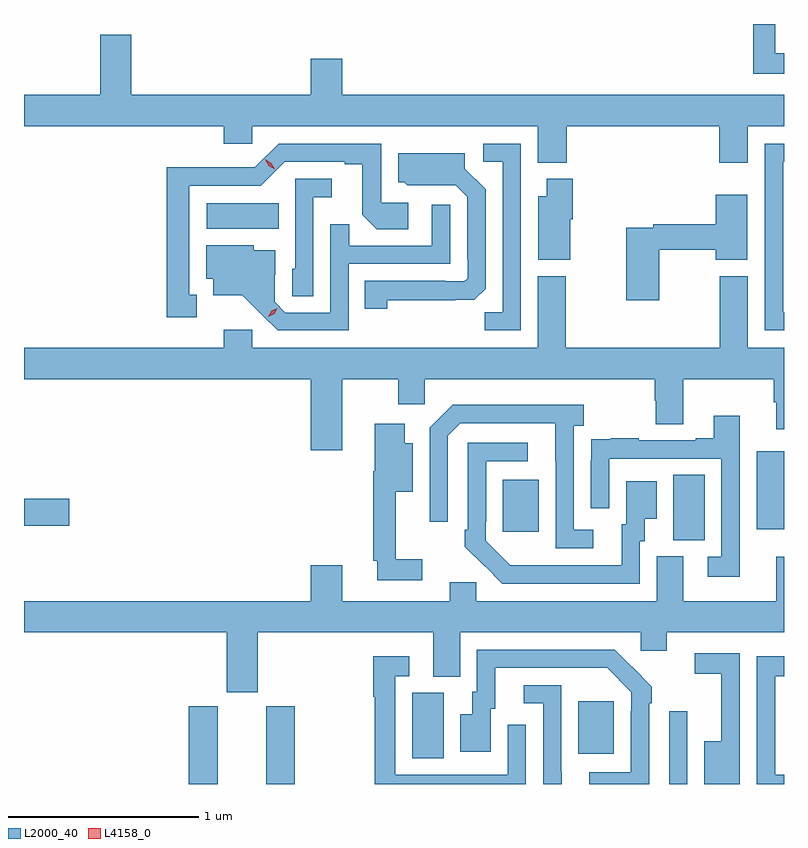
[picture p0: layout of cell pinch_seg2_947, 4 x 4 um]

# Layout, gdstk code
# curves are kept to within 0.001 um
import gdstk
lib = gdstk.Library(unit=1e-6, precision=1e-09)
def R(c, l, rs):  # rectangles x0, y0, x1, y1
    for r in rs: c.add(gdstk.rectangle(r[:2], r[2:], *l))
def P(c, l, *ps):  # polygons
    for p in ps: c.add(gdstk.Polygon(p, *l))
L2000_40 = (2000, 40)
L4158_0 = (4158, 0)

pinch_seg2_947 = lib.new_cell('pinch_seg2_947')
R(pinch_seg2_947, L2000_40, [(320.21,637.513,320.362,637.923), (320.618,637.513,320.766,637.923), (322.737,637.513,322.833,637.897), (321.386,637.648,321.55,637.992), (322.259,637.673,322.447,637.948), (322.76,638.797,322.924,639.14), (321.863,638.841,322.051,639.115), (323.198,638.855,323.342,639.265), (319.342,638.872,319.579,639.014), (320.304,640.436,320.684,640.57)])
P(pinch_seg2_947, L2000_40, [(323.342,641.359),(323.297,641.359),(323.297,641.513),(323.179,641.513),(323.179,641.25),(323.342,641.25)],
  [(323.152,640.976),(323.342,640.976),(323.342,641.14),(321.016,641.14),(321.016,641.329),(320.852,641.329),(320.852,641.14),(319.906,641.14),(319.906,641.457),(319.742,641.457),(319.742,641.14),(319.342,641.14),(319.342,640.976),(320.393,640.976),(320.393,640.883),(320.544,640.883),(320.544,640.976),(322.046,640.976),(322.046,640.784),(322.199,640.784),(322.199,640.976),(323,640.976),(323,640.782),(323.152,640.782)],
  [(321.957,640.884),(321.759,640.884),(321.759,640.788),(321.861,640.788),(321.861,639.995),(321.766,639.995),(321.766,639.9),(321.957,639.9)],
  [(323.342,639.995),(323.337,639.995),(323.337,640.788),(323.342,640.788),(323.342,640.884),(323.241,640.884),(323.241,639.9),(323.342,639.9)],
  [(320.251,640.089),(320.212,640.089),(320.212,640.662),(320.589,640.662),(320.715,640.788),(321.029,640.788),(321.029,640.776),(321.123,640.776),(321.123,640.508),(321.199,640.432),(321.364,640.432),(321.364,640.572),(321.222,640.572),(321.222,640.884),(320.682,640.884),(320.556,640.758),(320.334,640.758),(320.334,640.76),(320.094,640.76),(320.094,639.969),(320.251,639.969)],
  [(321.255,640.06),(321.712,640.061),(321.771,640.12),(321.771,640.642),(321.661,640.752),(321.661,640.834),(321.311,640.834),(321.311,640.68),(321.342,640.68),(321.358,640.664),(321.615,640.665),(321.675,640.605),(321.675,640.276),(321.678,640.276),(321.678,640.176),(321.66,640.158),(321.56,640.158),(321.56,640.161),(321.136,640.161),(321.136,640.014),(321.255,640.014)],
  [(322.216,640.485),(322.229,640.485),(322.229,640.699),(322.094,640.699),(322.094,640.606),(322.049,640.606),(322.049,640.271),(322.216,640.271)],
  [(320.865,640.601),(320.962,640.601),(320.962,640.698),(320.769,640.698),(320.769,640.224),(320.754,640.224),(320.754,640.081),(320.865,640.081)],
  [(322.686,640.324),(322.982,640.324),(322.982,640.271),(323.149,640.271),(323.149,640.615),(322.982,640.615),(322.982,640.46),(322.654,640.46),(322.654,640.44),(322.513,640.44),(322.513,640.059),(322.686,640.059)],
  [(321.051,640.251),(321.585,640.251),(321.585,640.561),(321.489,640.561),(321.489,640.347),(321.053,640.347),(321.053,640.46),(320.955,640.46),(320.955,639.993),(320.718,639.993),(320.661,640.05),(320.661,640.192),(320.665,640.192),(320.665,640.321),(320.55,640.321),(320.55,640.348),(320.3,640.348),(320.3,640.172),(320.339,640.172),(320.339,640.085),(320.491,640.085),(320.678,639.9),(321.051,639.9)],
  [(321.016,639.644),(321.311,639.644),(321.311,639.513),(321.45,639.513),(321.45,639.644),(322.661,639.644),(322.661,639.531),(322.666,639.531),(322.666,639.406),(322.813,639.406),(322.813,639.644),(323.289,639.644),(323.289,639.521),(323.3,639.521),(323.3,639.381),(323.342,639.381),(323.342,639.808),(323.152,639.808),(323.152,640.186),(323.005,640.186),(323.005,639.808),(322.194,639.808),(322.194,640.186),(322.046,640.186),(322.046,639.808),(320.544,639.808),(320.544,639.904),(320.393,639.904),(320.393,639.808),(319.342,639.808),(319.342,639.644),(320.852,639.644),(320.852,639.27),(321.016,639.27)],
  [(322.339,638.85),(322.236,638.85),(322.236,639.398),(322.288,639.398),(322.288,639.508),(321.598,639.508),(321.477,639.387),(321.477,638.892),(321.573,638.892),(321.573,639.345),(321.639,639.411),(322.139,639.411),(322.14,638.754),(322.339,638.754)],
  [(323.109,639.451),(322.973,639.451),(322.973,639.334),(322.877,639.334),(322.877,639.321),(322.577,639.321),(322.577,639.334),(322.429,639.334),(322.429,639.327),(322.327,639.327),(322.327,639.218),(322.326,639.218),(322.326,638.964),(322.422,638.964),(322.422,639.225),(323.013,639.225),(323.013,638.709),(322.941,638.709),(322.941,638.604),(323.109,638.604)],
  [(321.439,638.695),(321.299,638.695),(321.299,639.05),(321.388,639.05),(321.388,639.307),(321.346,639.307),(321.346,639.409),(321.188,639.409),(321.188,639.16),(321.181,639.16),(321.181,638.689),(321.2,638.689),(321.2,638.586),(321.439,638.586)],
  [(322.584,638.79),(322.609,638.79),(322.609,638.909),(322.672,638.909),(322.672,639.106),(322.511,639.106),(322.511,638.88),(322.487,638.88),(322.487,638.664),(321.9,638.665),(321.771,638.793),(321.771,638.893),(321.774,638.893),(321.774,639.213),(321.994,639.213),(321.994,639.309),(321.678,639.309),(321.678,638.851),(321.663,638.851),(321.663,638.763),(321.86,638.568),(322.584,638.568)],
  [(323.342,638.71),(323.3,638.71),(323.3,638.476),(322.813,638.476),(322.813,638.712),(322.673,638.712),(322.673,638.476),(321.723,638.476),(321.723,638.574),(321.584,638.574),(321.584,638.476),(321.016,638.476),(321.016,638.665),(320.852,638.665),(320.852,638.476),(319.342,638.476),(319.342,638.312),(320.408,638.312),(320.408,637.995),(320.572,637.995),(320.572,638.312),(321.497,638.312),(321.497,638.077),(321.637,638.077),(321.637,638.312),(322.587,638.312),(322.587,638.214),(322.726,638.214),(322.726,638.312),(323.342,638.312)],
  [(322.632,637.937),(322.647,637.937),(322.647,638.025),(322.45,638.22),(321.726,638.22),(321.726,637.998),(321.701,637.998),(321.701,637.879),(321.638,637.879),(321.638,637.683),(321.799,637.683),(321.799,637.908),(321.823,637.908),(321.823,638.124),(322.411,638.124),(322.539,637.995),(322.539,637.895),(322.536,637.895),(322.536,637.575),(322.317,637.575),(322.317,637.513),(322.632,637.513)],
  [(323.109,638.202),(322.872,638.202),(322.872,638.094),(323.012,638.094),(323.012,637.738),(322.922,637.738),(322.922,637.513),(323.109,637.513)],
  [(321.983,637.57),(321.984,637.57),(321.984,637.825),(321.888,637.825),(321.888,637.563),(321.297,637.563),(321.297,638.079),(321.37,638.079),(321.37,638.185),(321.181,638.185),(321.181,637.972),(321.189,637.972),(321.189,637.513),(321.983,637.513)],
  [(323.342,637.563),(323.295,637.563),(323.295,638.079),(323.342,638.079),(323.342,638.185),(323.199,638.185),(323.199,637.513),(323.342,637.513)],
  [(322.171,637.577),(322.17,637.577),(322.17,638.034),(321.972,638.034),(321.972,637.938),(322.074,637.938),(322.074,637.513),(322.171,637.513)])
P(pinch_seg2_947, L4158_0, [(320.628,639.973),(320.628,639.973),(320.646,640.003),(320.676,640.018),(320.676,640.018),(320.676,640.018),(320.659,639.988),(320.628,639.973)],
  [(320.662,640.749),(320.63,640.767),(320.612,640.799),(320.612,640.8),(320.612,640.8),(320.644,640.781),(320.662,640.749),(320.662,640.749)])

lib.write_gds('pinch_seg2_947.gds')
